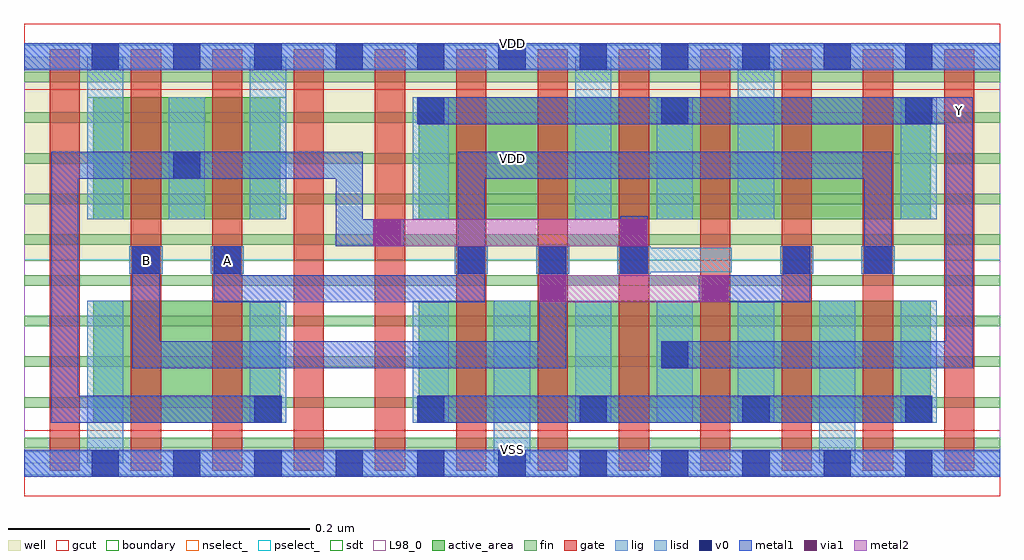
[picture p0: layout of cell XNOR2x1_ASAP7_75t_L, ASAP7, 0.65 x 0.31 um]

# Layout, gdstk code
import gdstk
lib = gdstk.Library(unit=1e-6, precision=2.5e-10)
def R(c, l, rs):  # rectangles x0, y0, x1, y1
    for r in rs: c.add(gdstk.rectangle(r[:2], r[2:], *l))
def A(c, l, x, y, w, h, nx, ny, dx, dy):  # array of equal rectangles
    R(c, l, [(x+i*dx, y+j*dy, x+i*dx+w, y+j*dy+h) for i in range(nx) for j in range(ny)])
def P(c, l, *ps):  # polygons
    for p in ps: c.add(gdstk.Polygon(p, *l))
well = (1, 0)
fin = (2, 0)
gate = (7, 0)
gcut = (10, 0)
active_area = (11, 0)
nselect_ = (12, 0)
pselect_ = (13, 0)
lig = (16, 0)
lisd = (17, 0)
v0 = (18, 0)
metal1 = (19, 0)
metal2 = (20, 0)
via1 = (21, 0)
sdt = (88, 0)
L98_0 = (98, 0)
boundary = (100, 0)

xnor2x1_asap7_75t_l = lib.new_cell('XNOR2x1_ASAP7_75t_L')
R(xnor2x1_asap7_75t_l, well, [(0,0.135,0.648,0.27)])
A(xnor2x1_asap7_75t_l, fin, 0, 0.01, 0.648, 0.007, 1, 10, 0, 0.027)
A(xnor2x1_asap7_75t_l, gate, 0.017, -0.005, 0.02, 0.28, 12, 1, 0.054, 0)
R(xnor2x1_asap7_75t_l, gcut, [(0,-0.022,0.648,0.022), (0,0.248,0.648,0.292)])
R(xnor2x1_asap7_75t_l, active_area, [(0.046,0.027,0.17,0.108), (0.262,0.027,0.602,0.108), (0.046,0.162,0.17,0.243), (0.262,0.162,0.602,0.243)])
R(xnor2x1_asap7_75t_l, nselect_, [(0,0,0.648,0.135)])
R(xnor2x1_asap7_75t_l, pselect_, [(0,0.135,0.648,0.27)])
A(xnor2x1_asap7_75t_l, lig, 0.286, 0.126, 0.022, 0.018, 3, 1, 0.054, 0)
R(xnor2x1_asap7_75t_l, lig, [(0,-0.008,0.648,0.008), (0.07,0.126,0.092,0.144), (0.124,0.126,0.146,0.144), (0.502,0.126,0.524,0.144), (0.556,0.126,0.578,0.144), (0.394,0.127,0.47,0.143), (0,0.262,0.648,0.278)])
A(xnor2x1_asap7_75t_l, lisd, 0.15, 0.027, 0.024, 0.081, 3, 1, 0.108, 0)
A(xnor2x1_asap7_75t_l, lisd, 0.096, 0.162, 0.024, 0.081, 4, 1, 0.162, 0)
R(xnor2x1_asap7_75t_l, lisd, [(0.042,0,0.066,0.108), (0.042,0,0.066,0.108), (0.312,0,0.336,0.108), (0.312,0,0.336,0.108), (0.528,0,0.552,0.108), (0.528,0,0.552,0.108), (0.42,0.027,0.444,0.108), (0.474,0.027,0.498,0.108), (0.582,0.027,0.606,0.108), (0.042,0.162,0.066,0.27), (0.042,0.162,0.066,0.27), (0.15,0.162,0.174,0.27), (0.15,0.162,0.174,0.27), (0.366,0.162,0.39,0.27), (0.366,0.162,0.39,0.27), (0.474,0.162,0.498,0.27), (0.474,0.162,0.498,0.27)])
A(xnor2x1_asap7_75t_l, v0, 0.045, -0.009, 0.018, 0.018, 11, 2, 0.054, 0.27)
A(xnor2x1_asap7_75t_l, v0, 0.153, 0.027, 0.018, 0.018, 5, 1, 0.108, 0)
A(xnor2x1_asap7_75t_l, v0, 0.288, 0.126, 0.018, 0.018, 3, 1, 0.054, 0)
A(xnor2x1_asap7_75t_l, v0, 0.261, 0.225, 0.018, 0.018, 3, 1, 0.162, 0)
R(xnor2x1_asap7_75t_l, v0, [(0.423,0.063,0.441,0.081), (0.072,0.126,0.09,0.144), (0.126,0.126,0.144,0.144), (0.504,0.126,0.522,0.144), (0.558,0.126,0.576,0.144), (0.099,0.189,0.117,0.207)])
A(xnor2x1_asap7_75t_l, metal1, 0.153, 0.027, 0.018, 0.018, 5, 1, 0.108, 0)
A(xnor2x1_asap7_75t_l, metal1, 0.288, 0.126, 0.018, 0.018, 3, 1, 0.054, 0)
A(xnor2x1_asap7_75t_l, metal1, 0.261, 0.225, 0.018, 0.018, 3, 1, 0.162, 0)
R(xnor2x1_asap7_75t_l, metal1, [(0,-0.009,0.648,0.009), (0.261,0.027,0.603,0.045), (0.423,0.063,0.441,0.081), (0.342,0.107,0.36,0.125), (0.448,0.107,0.47,0.125), (0.072,0.126,0.09,0.144), (0.126,0.126,0.144,0.144), (0.396,0.126,0.414,0.163), (0.504,0.126,0.522,0.144), (0.558,0.126,0.576,0.144), (0.234,0.144,0.252,0.162), (0.396,0.144,0.414,0.164), (0.099,0.189,0.117,0.207), (0,0.261,0.648,0.279)])
P(xnor2x1_asap7_75t_l, metal1, [(0.018,0.027),(0.018,0.207),(0.225,0.207),(0.225,0.162),(0.252,0.162),(0.252,0.144),(0.207,0.144),(0.207,0.189),(0.036,0.189),(0.036,0.045),(0.171,0.045),(0.171,0.027)],
  [(0.072,0.063),(0.072,0.144),(0.09,0.144),(0.09,0.081),(0.342,0.081),(0.342,0.144),(0.36,0.144),(0.36,0.063)],
  [(0.45,0.107),(0.45,0.125),(0.504,0.125),(0.504,0.144),(0.522,0.144),(0.522,0.107)],
  [(0.126,0.107),(0.126,0.144),(0.144,0.144),(0.144,0.125),(0.288,0.125),(0.288,0.207),(0.576,0.207),(0.576,0.126),(0.558,0.126),(0.558,0.189),(0.306,0.189),(0.306,0.107)],
  [(0.423,0.063),(0.423,0.081),(0.612,0.081),(0.612,0.225),(0.261,0.225),(0.261,0.243),(0.63,0.243),(0.63,0.063)])
R(xnor2x1_asap7_75t_l, metal2, [(0.342,0.107,0.468,0.125), (0.232,0.144,0.414,0.162)])
R(xnor2x1_asap7_75t_l, via1, [(0.342,0.107,0.36,0.125), (0.45,0.107,0.468,0.125), (0.232,0.144,0.25,0.162), (0.396,0.144,0.414,0.162)])
A(xnor2x1_asap7_75t_l, sdt, 0.042, 0.027, 0.024, 0.081, 3, 1, 0.108, 0)
A(xnor2x1_asap7_75t_l, sdt, 0.312, 0.027, 0.024, 0.081, 5, 1, 0.054, 0)
A(xnor2x1_asap7_75t_l, sdt, 0.042, 0.162, 0.024, 0.081, 3, 1, 0.054, 0)
A(xnor2x1_asap7_75t_l, sdt, 0.15, 0.162, 0.024, 0.081, 3, 1, 0.108, 0)
A(xnor2x1_asap7_75t_l, sdt, 0.366, 0.162, 0.024, 0.081, 3, 1, 0.054, 0)
R(xnor2x1_asap7_75t_l, sdt, [(0.042,0.027,0.066,0.108), (0.312,0.027,0.336,0.108), (0.528,0.027,0.552,0.108), (0.582,0.027,0.606,0.108), (0.042,0.162,0.066,0.243), (0.474,0.162,0.498,0.243), (0.582,0.162,0.606,0.243)])
R(xnor2x1_asap7_75t_l, L98_0, [(0,0,0.648,0.27)])
R(xnor2x1_asap7_75t_l, boundary, [(0,0,0.648,0.27)])
xnor2x1_asap7_75t_l.add(gdstk.Label('VDD', (0.324,0.2025), layer=1, texttype=251))
xnor2x1_asap7_75t_l.add(gdstk.Label('VSS', (0.324,-0.0675), layer=3, texttype=251))
xnor2x1_asap7_75t_l.add(gdstk.Label('VSS', (0.324,0.009), layer=19, texttype=251))
xnor2x1_asap7_75t_l.add(gdstk.Label('VDD', (0.324,0.279), layer=19, texttype=251))
xnor2x1_asap7_75t_l.add(gdstk.Label('B', (0.081,0.135), layer=19, texttype=251))
xnor2x1_asap7_75t_l.add(gdstk.Label('A', (0.135,0.135), layer=19, texttype=251))
xnor2x1_asap7_75t_l.add(gdstk.Label('Y', (0.621,0.234), layer=19, texttype=251))

lib.write_gds('XNOR2x1_ASAP7_75t_L.gds')
